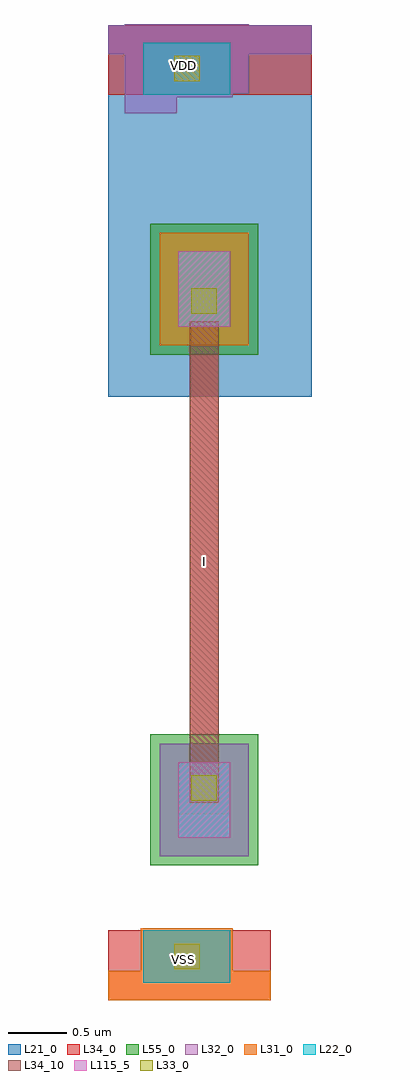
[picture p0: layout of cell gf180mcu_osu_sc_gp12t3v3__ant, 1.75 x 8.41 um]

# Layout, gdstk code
import gdstk
lib = gdstk.Library(unit=1e-6, precision=1e-09)
def R(c, l, rs):  # rectangles x0, y0, x1, y1
    for r in rs: c.add(gdstk.rectangle(r[:2], r[2:], *l))
L21_0 = (21, 0)
L22_0 = (22, 0)
L31_0 = (31, 0)
L32_0 = (32, 0)
L33_0 = (33, 0)
L34_0 = (34, 0)
L34_10 = (34, 10)
L55_0 = (55, 0)
L115_5 = (115, 5)

gf180mcu_osu_sc_gp12t3v3 = lib.new_cell('gf180mcu_osu_sc_gp12t3v3__ant')
R(gf180mcu_osu_sc_gp12t3v3, L21_0, [(0,5.2,1.75,8.4)])
R(gf180mcu_osu_sc_gp12t3v3, L22_0, [(0.3,0.15,1.05,0.6), (0.6,1.4,1.05,2.05), (0.6,5.8,1.05,6.45), (0.3,7.8,1.05,8.25)])
R(gf180mcu_osu_sc_gp12t3v3, L31_0, [(0,0,1.4,0.25), (0.28,0.13,1.07,0.62), (0.44,5.64,1.21,6.61)])
R(gf180mcu_osu_sc_gp12t3v3, L32_0, [(0.44,1.24,1.21,2.21), (0.14,7.64,0.59,7.78), (0.14,7.78,1.07,7.81), (0.14,7.81,1.21,8.15), (0,8.15,1.75,8.4), (0,8.15,1.75,8.4), (0.14,8.4,1.21,8.41)])
R(gf180mcu_osu_sc_gp12t3v3, L33_0, [(0.565,0.265,0.785,0.485), (0.715,1.715,0.935,1.935), (0.715,5.915,0.935,6.135), (0.565,7.915,0.785,8.135)])
R(gf180mcu_osu_sc_gp12t3v3, L34_0, [(0,0,1.4,0.6), (0.6,1.6,1.05,2.05), (0.7,2.05,0.95,5.8), (0.6,5.8,1.05,6.25), (0,7.8,1.75,8.4)])
R(gf180mcu_osu_sc_gp12t3v3, L34_10, [(0.7,1.7,0.95,5.85)])
R(gf180mcu_osu_sc_gp12t3v3, L55_0, [(0.36,1.16,1.29,2.29), (0.36,5.56,1.29,6.69)])
R(gf180mcu_osu_sc_gp12t3v3, L115_5, [(0.6,1.4,1.05,2.05), (0.6,5.8,1.05,6.45)])
gf180mcu_osu_sc_gp12t3v3.add(gdstk.Label('VDD', (0.65,8.05), layer=34, texttype=10))
gf180mcu_osu_sc_gp12t3v3.add(gdstk.Label('VSS', (0.65,0.35), layer=34, texttype=10))
gf180mcu_osu_sc_gp12t3v3.add(gdstk.Label('I', (0.825,3.775), layer=34, texttype=10))

lib.write_gds('gf180mcu_osu_sc_gp12t3v3__ant.gds')
